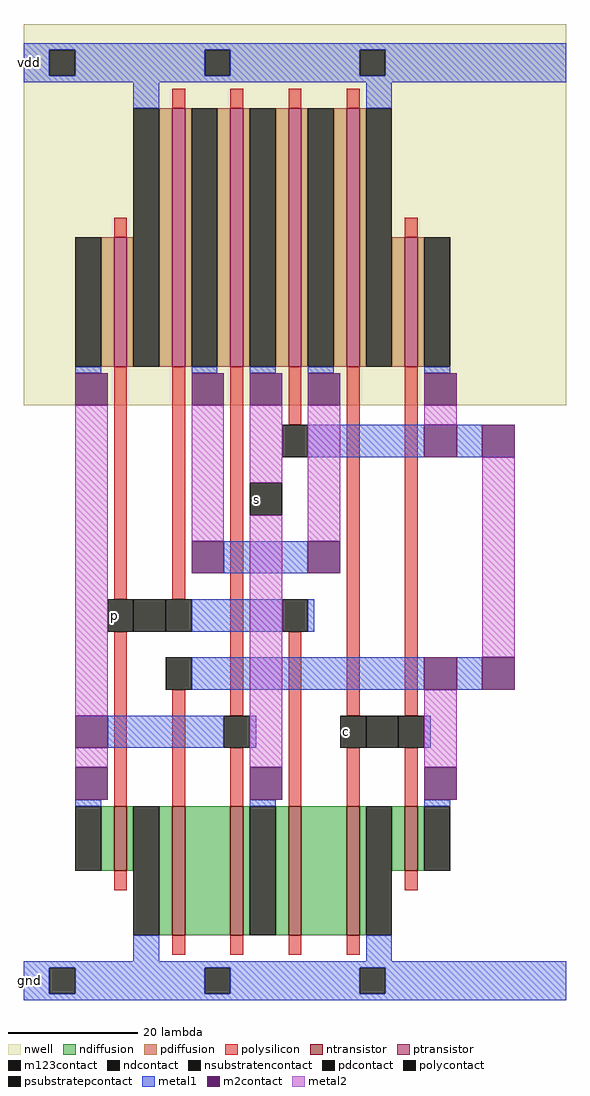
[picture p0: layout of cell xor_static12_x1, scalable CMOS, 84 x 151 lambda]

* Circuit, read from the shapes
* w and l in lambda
.subckt xor_static12_x1 c p s vdd gnd
M1 gnd p n1 gnd nfet w=10 l=2
M2 n2 n3 gnd gnd nfet w=20 l=2
M3 s n1 n2 gnd nfet w=20 l=2
M4 n4 p s gnd nfet w=20 l=2
M5 gnd c n4 gnd nfet w=20 l=2
M6 n3 c gnd gnd nfet w=10 l=2
M7 vdd p n1 vdd pfet w=20 l=2
M8 n5 p vdd vdd pfet w=40 l=2
M9 s n1 n5 vdd pfet w=40 l=2
M10 n5 n3 s vdd pfet w=40 l=2
M11 vdd c n5 vdd pfet w=40 l=2
M12 n3 c vdd vdd pfet w=20 l=2
.ends

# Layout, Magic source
magic
tech scmos
<< nwell >>
rect 0 92 84 151
<< ntransistor >>
rect 14 20 16 30
rect 23 10 25 30
rect 32 10 34 30
rect 41 10 43 30
rect 50 10 52 30
rect 59 20 61 30
<< ptransistor >>
rect 14 98 16 118
rect 23 98 25 138
rect 32 98 34 138
rect 41 98 43 138
rect 50 98 52 138
rect 59 98 61 118
<< ndiffusion >>
rect 12 20 14 30
rect 16 20 17 30
rect 21 10 23 30
rect 25 10 32 30
rect 34 10 35 30
rect 39 10 41 30
rect 43 10 50 30
rect 52 10 53 30
rect 57 20 59 30
rect 61 20 62 30
<< pdiffusion >>
rect 12 98 14 118
rect 16 98 17 118
rect 21 98 23 138
rect 25 98 26 138
rect 30 98 32 138
rect 34 98 35 138
rect 39 98 41 138
rect 43 98 44 138
rect 48 98 50 138
rect 52 98 53 138
rect 57 98 59 118
rect 61 98 62 118
<< ndcontact >>
rect 8 20 12 30
rect 17 10 21 30
rect 35 10 39 30
rect 53 10 57 30
rect 62 20 66 30
<< pdcontact >>
rect 8 98 12 118
rect 17 98 21 138
rect 26 98 30 138
rect 35 98 39 138
rect 44 98 48 138
rect 53 98 57 138
rect 62 98 66 118
<< psubstratepcontact >>
rect 4 1 8 5
rect 28 1 32 5
rect 52 1 56 5
<< nsubstratencontact >>
rect 4 143 8 147
rect 28 143 32 147
rect 52 143 56 147
<< polysilicon >>
rect 23 138 25 141
rect 32 138 34 141
rect 41 138 43 141
rect 50 138 52 141
rect 14 118 16 121
rect 59 118 61 121
rect 14 62 16 98
rect 23 62 25 98
rect 14 30 16 57
rect 23 30 25 48
rect 32 44 34 98
rect 41 89 43 98
rect 32 30 34 39
rect 41 30 43 57
rect 50 44 52 98
rect 59 44 61 98
rect 50 30 52 39
rect 59 30 61 39
rect 14 17 16 20
rect 59 17 61 20
rect 23 7 25 10
rect 32 7 34 10
rect 41 7 43 10
rect 50 7 52 10
<< polycontact >>
rect 13 57 17 62
rect 22 57 26 62
rect 22 48 26 53
rect 40 84 44 89
rect 40 57 44 62
rect 31 39 35 44
rect 49 39 53 44
rect 58 39 62 44
<< metal1 >>
rect 0 147 84 148
rect 0 143 4 147
rect 8 143 28 147
rect 32 143 52 147
rect 56 143 84 147
rect 0 142 84 143
rect 17 138 21 142
rect 53 138 57 142
rect 8 97 12 98
rect 26 97 30 98
rect 35 97 39 98
rect 44 97 48 98
rect 62 97 66 98
rect 44 84 62 89
rect 67 84 71 89
rect 31 66 44 71
rect 26 57 40 62
rect 44 57 45 62
rect 26 48 62 53
rect 67 48 71 53
rect 13 39 31 44
rect 35 39 36 44
rect 62 39 63 44
rect 8 30 12 31
rect 35 30 39 31
rect 62 30 66 31
rect 17 6 21 10
rect 53 6 57 10
rect 0 5 84 6
rect 0 1 4 5
rect 8 1 28 5
rect 32 1 52 5
rect 56 1 84 5
rect 0 0 84 1
<< m2contact >>
rect 8 92 13 97
rect 26 92 31 97
rect 35 92 40 97
rect 44 92 49 97
rect 62 92 67 97
rect 62 84 67 89
rect 71 84 76 89
rect 26 66 31 71
rect 44 66 49 71
rect 62 48 67 53
rect 71 48 76 53
rect 8 39 13 44
rect 8 31 13 36
rect 35 31 40 36
rect 62 31 67 36
<< metal2 >>
rect 8 44 13 92
rect 26 71 31 92
rect 35 80 40 92
rect 8 36 13 39
rect 35 36 40 75
rect 44 71 49 92
rect 62 89 67 92
rect 71 53 76 84
rect 62 36 67 48
<< m123contact >>
rect 35 75 40 80
rect 17 57 22 62
rect 53 39 58 44
<< labels >>
rlabel metal1 49 39 51 44 0 c
port 1 nsew
rlabel metal1 13 57 15 62 0 p
port 2 nsew
rlabel metal1 35 75 37 80 0 s
port 3 nsew
rlabel metal1 0 142 2 148 0 vdd
port 4 nsew
rlabel metal1 0 0 2 6 0 gnd
port 5 nsew
<< end >>
